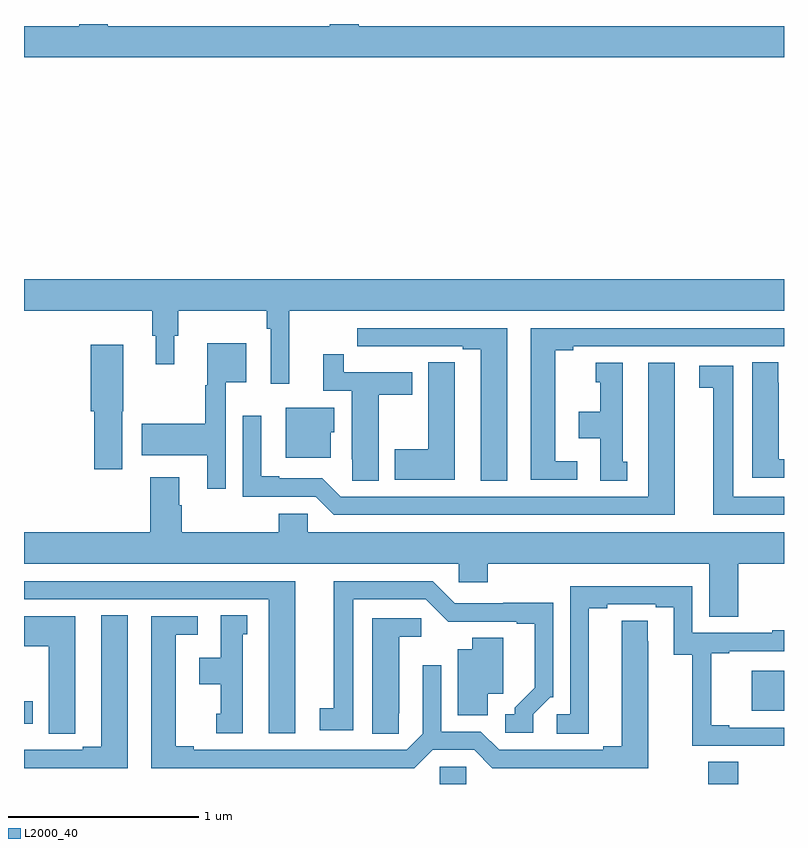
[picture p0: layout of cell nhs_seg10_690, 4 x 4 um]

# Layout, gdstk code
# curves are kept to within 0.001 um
import gdstk
lib = gdstk.Library(unit=1e-6, precision=1e-09)
def R(c, l, rs):  # rectangles x0, y0, x1, y1
    for r in rs: c.add(gdstk.rectangle(r[:2], r[2:], *l))
def P(c, l, *ps):  # polygons
    for p in ps: c.add(gdstk.Polygon(p, *l))
L2000_40 = (2000, 40)

nhs_seg10_690 = lib.new_cell('nhs_seg10_690')
R(nhs_seg10_690, L2000_40, [(147.189,1288.5,147.327,1288.59), (148.6,1288.5,148.76,1288.616), (145,1288.818,145.045,1288.935), (148.829,1288.886,149,1289.095)])
P(nhs_seg10_690, L2000_40, [(149,1292.488),(146.762,1292.488),(146.762,1292.5),(146.609,1292.5),(146.609,1292.488),(145.442,1292.488),(145.442,1292.5),(145.29,1292.5),(145.29,1292.488),(145,1292.488),(145,1292.324),(149,1292.324)],
  [(146.396,1290.992),(149,1290.992),(149,1291.156),(145,1291.156),(145,1290.992),(145.675,1290.992),(145.675,1290.858),(145.694,1290.858),(145.694,1290.708),(145.792,1290.708),(145.792,1290.858),(145.811,1290.858),(145.811,1290.992),(146.278,1290.992),(146.278,1290.896),(146.298,1290.896),(146.298,1290.606),(146.396,1290.606)],
  [(147.913,1290.198),(147.796,1290.198),(147.796,1290.784),(147.892,1290.784),(147.892,1290.804),(149,1290.804),(149,1290.9),(147.668,1290.9),(147.668,1290.102),(147.913,1290.102)],
  [(147.544,1290.9),(146.754,1290.9),(146.754,1290.804),(146.866,1290.804),(146.866,1290.803),(147.032,1290.803),(147.032,1290.804),(147.308,1290.804),(147.308,1290.789),(147.404,1290.789),(147.404,1290.097),(147.544,1290.097)],
  [(146.061,1290.614),(146.17,1290.614),(146.17,1290.82),(145.964,1290.82),(145.964,1290.6),(145.953,1290.6),(145.953,1290.396),(145.62,1290.396),(145.62,1290.23),(145.964,1290.23),(145.964,1290.054),(146.061,1290.054)],
  [(145.516,1290.462),(145.522,1290.462),(145.522,1290.811),(145.352,1290.811),(145.352,1290.462),(145.37,1290.462),(145.37,1290.156),(145.516,1290.156)],
  [(146.866,1290.55),(147.043,1290.55),(147.043,1290.666),(146.684,1290.666),(146.684,1290.763),(146.576,1290.763),(146.576,1290.57),(146.726,1290.57),(146.726,1290.208),(146.727,1290.208),(146.727,1290.097),(146.866,1290.097)],
  [(147.268,1290.611),(147.267,1290.611),(147.267,1290.719),(147.128,1290.719),(147.128,1290.261),(146.951,1290.261),(146.951,1290.101),(147.268,1290.101)],
  [(149,1290.208),(148.972,1290.208),(148.972,1290.611),(148.971,1290.611),(148.971,1290.719),(148.832,1290.719),(148.832,1290.111),(149,1290.111)],
  [(148.426,1290.718),(148.286,1290.718),(148.286,1290.012),(146.667,1290.012),(146.571,1290.108),(146.344,1290.108),(146.344,1290.121),(146.248,1290.121),(146.248,1290.439),(146.151,1290.439),(146.151,1290.012),(146.535,1290.012),(146.631,1289.916),(148.426,1289.916)],
  [(148.174,1290.195),(148.15,1290.195),(148.15,1290.718),(148.01,1290.718),(148.01,1290.615),(148.034,1290.615),(148.034,1290.46),(147.92,1290.46),(147.92,1290.32),(148.034,1290.32),(148.034,1290.097),(148.174,1290.097)],
  [(149,1290.012),(148.732,1290.012),(148.732,1290.702),(148.554,1290.702),(148.554,1290.586),(148.628,1290.586),(148.628,1289.916),(149,1289.916)],
  [(146.614,1290.351),(146.632,1290.351),(146.632,1290.481),(146.378,1290.481),(146.378,1290.218),(146.614,1290.218)],
  [(148.76,1289.66),(149,1289.66),(149,1289.824),(146.493,1289.824),(146.493,1289.922),(146.342,1289.922),(146.342,1289.824),(145.829,1289.824),(145.829,1289.966),(145.816,1289.966),(145.816,1290.115),(145.664,1290.115),(145.664,1289.824),(145,1289.824),(145,1289.66),(147.288,1289.66),(147.288,1289.562),(147.44,1289.562),(147.44,1289.66),(148.607,1289.66),(148.607,1289.38),(148.76,1289.38)],
  [(146.428,1289.568),(145,1289.568),(145,1289.472),(146.288,1289.472),(146.288,1288.767),(146.428,1288.767)],
  [(147.681,1288.866),(147.771,1288.956),(147.786,1288.956),(147.786,1289.453),(147.523,1289.453),(147.523,1289.451),(147.267,1289.451),(147.15,1289.568),(146.63,1289.568),(146.63,1288.898),(146.556,1288.898),(146.556,1288.782),(146.734,1288.782),(146.734,1289.472),(147.114,1289.472),(147.232,1289.354),(147.593,1289.355),(147.593,1289.343),(147.689,1289.343),(147.689,1289.006),(147.584,1288.901),(147.584,1288.866),(147.534,1288.866),(147.534,1288.77),(147.681,1288.77)],
  [(149,1288.797),(148.711,1288.797),(148.711,1288.81),(148.616,1288.81),(148.616,1289.187),(148.711,1289.187),(148.711,1289.199),(149,1289.199),(149,1289.308),(148.937,1289.308),(148.937,1289.295),(148.518,1289.295),(148.518,1289.541),(147.876,1289.541),(147.876,1288.866),(147.804,1288.866),(147.804,1288.765),(147.973,1288.765),(147.973,1289.425),(148.069,1289.425),(148.069,1289.445),(148.325,1289.445),(148.325,1289.43),(148.421,1289.43),(148.421,1289.179),(148.516,1289.179),(148.516,1288.701),(149,1288.701)],
  [(145.546,1289.387),(145.406,1289.387),(145.406,1288.695),(145.31,1288.695),(145.31,1288.68),(145.034,1288.68),(145.034,1288.681),(145,1288.681),(145,1288.584),(145.546,1288.584)],
  [(146.152,1289.289),(146.176,1289.289),(146.176,1289.387),(146.036,1289.387),(146.036,1289.164),(145.922,1289.164),(145.922,1289.024),(146.036,1289.024),(146.036,1288.869),(146.012,1288.869),(146.012,1288.767),(146.152,1288.767)],
  [(145.269,1288.873),(145.27,1288.873),(145.27,1289.383),(145,1289.383),(145,1289.224),(145.13,1289.224),(145.13,1288.765),(145.269,1288.765)],
  [(147.151,1288.68),(147.369,1288.68),(147.465,1288.584),(148.285,1288.584),(148.284,1289.36),(148.145,1289.36),(148.145,1288.7),(148.049,1288.7),(148.049,1288.68),(147.501,1288.68),(147.405,1288.776),(147.195,1288.776),(147.195,1289.125),(147.099,1289.125),(147.099,1288.764),(147.015,1288.68),(145.894,1288.68),(145.894,1288.7),(145.798,1288.7),(145.798,1289.286),(145.915,1289.286),(145.915,1289.382),(145.67,1289.382),(145.67,1288.584),(147.055,1288.584)],
  [(146.973,1288.873),(146.974,1288.873),(146.974,1289.276),(147.091,1289.276),(147.091,1289.373),(146.834,1289.373),(146.834,1288.765),(146.973,1288.765)],
  [(147.442,1288.976),(147.523,1288.976),(147.523,1289.27),(147.359,1289.27),(147.359,1289.209),(147.284,1289.209),(147.284,1288.861),(147.442,1288.861)])

lib.write_gds('nhs_seg10_690.gds')
